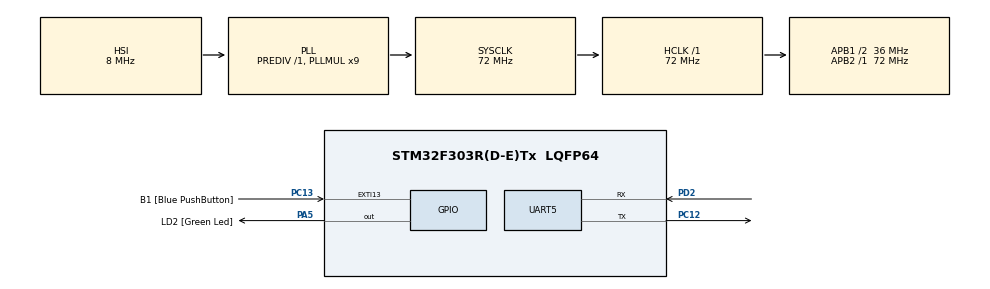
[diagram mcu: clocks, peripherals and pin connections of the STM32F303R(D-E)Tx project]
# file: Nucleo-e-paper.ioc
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FREERTOS.Tasks01=defaultTask,0,128,StartDefaultTask,Default,NULL
Mcu.Family=STM32F3
Mcu.Name=STM32F303R(D-E)Tx
Mcu.Package=LQFP64
NVIC.PriorityGroup=NVIC_PRIORITYGROUP_4
NVIC.TIM1_UP_TIM16_IRQn=true\:0\:0\:false\:false\:true\:false\:false
NVIC.TimeBase=TIM1_UP_TIM16_IRQn
NVIC.TimeBaseIP=TIM1
PA13.GPIO_Label=TMS
PA13.Mode=Serial_Wire
PA13.Signal=SYS_JTMS-SWDIO
PA14.GPIO_Label=TCK
PA14.Mode=Serial_Wire
PA14.Signal=SYS_JTCK-SWCLK
PA2.GPIO_Label=USART_TX
PA2.GPIO_Mode=GPIO_MODE_AF_PP
PA2.GPIO_PuPd=GPIO_NOPULL
PA2.GPIO_Speed=GPIO_SPEED_FREQ_LOW
PA2.Signal=USART2_TX
PA3.GPIO_Label=USART_RX
PA3.GPIO_Mode=GPIO_MODE_AF_PP
PA3.GPIO_PuPd=GPIO_NOPULL
PA3.GPIO_Speed=GPIO_SPEED_FREQ_LOW
PA3.Signal=USART2_RX
PA5.GPIO_Label=LD2 [Green Led]
PA5.GPIO_Mode=GPIO_MODE_OUTPUT_PP
PA5.GPIO_PuPd=GPIO_NOPULL
PA5.GPIO_Speed=GPIO_SPEED_FREQ_LOW
PA5.Signal=GPIO_Output
PB3.GPIO_Label=SWO
PB3.Signal=SYS_JTDO-TRACESWO
PC12.Mode=Asynchronous
PC12.Signal=UART5_TX
PC13.GPIO_Label=B1 [Blue PushButton]
PC13.GPIO_ModeDefaultEXTI=GPIO_MODE_IT_FALLING
PC13.Signal=GPXTI13
PC14-OSC32_IN.Mode=LSE-External-Oscillator
PC14-OSC32_IN.Signal=RCC_OSC32_IN
PC15-OSC32_OUT.Mode=LSE-External-Oscillator
PC15-OSC32_OUT.Signal=RCC_OSC32_OUT
PD2.Mode=Asynchronous
PD2.Signal=UART5_RX
PF0-OSC_IN.Mode=HSE-External-Clock-Source
PF0-OSC_IN.Signal=RCC_OSC_IN
PF1-OSC_OUT.Signal=RCC_OSC_OUT
ProjectManager.HeapSize=0x200
ProjectManager.StackSize=0x400
ProjectManager.TargetToolchain=SW4STM32
RCC.AHBFreq_Value=72000000
RCC.APB1CLKDivider=RCC_HCLK_DIV2
RCC.APB1Freq_Value=36000000
RCC.APB1TimFreq_Value=72000000
RCC.APB2Freq_Value=72000000
RCC.APB2TimFreq_Value=72000000
RCC.CortexFreq_Value=72000000
RCC.HCLKFreq_Value=72000000
RCC.HSE_VALUE=8000000
RCC.HSI_VALUE=8000000
RCC.PLLM=8
RCC.PLLMUL=RCC_PLL_MUL9
RCC.PLLN=336
RCC.PLLP=RCC_PLLP_DIV4
RCC.PLLQ=7
RCC.RCC_PLLsource_Clock_Source_FROM_HSE=RCC_HSE_PREDIV_DIV2
RCC.RTCClockSelection=RCC_RTCCLKSOURCE_LSE
RCC.SYSCLKFreq_VALUE=72000000
RCC.SYSCLKSourceVirtual=RCC_SYSCLKSOURCE_PLLCLK
RCC.USBFreq_Value=72000000
VP_FREERTOS_VS_ENABLE.Mode=Enabled
VP_RTC_VS_RTC_Activate.Mode=RTC_Enabled
VP_RTC_VS_RTC_Calendar.Mode=RTC_Calendar
VP_SYS_VS_tim1.Mode=TIM1
board=NUCLEO-F303RE

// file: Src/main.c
/**
  ******************************************************************************
  * @file           : main.c
  * @brief          : Main program body
  ******************************************************************************
  * This notice applies to any and all portions of this file
  * that are not between comment pairs USER CODE BEGIN and
  * USER CODE END. Other portions of this file, whether
  * inserted by the user or by software development tools
  * are owned by their respective copyright owners.
  *
  * Copyright (c) 2018 STMicroelectronics International N.V.
  * All rights reserved.
  *
  * Redistribution and use in source and binary forms, with or without
  * modification, are permitted, provided that the following conditions are met:
  *
  * 1. Redistribution of source code must retain the above copyright notice,
  *    this list of conditions and the following disclaimer.
  * 2. Redistributions in binary form must reproduce the above copyright notice,
  *    this list of conditions and the following disclaimer in the documentation
  *    and/or other materials provided with the distribution.
  * 3. Neither the name of STMicroelectronics nor the names of other
  *    contributors to this software may be used to endorse or promote products
  *    derived from this software without specific written permission.
  * 4. This software, including modifications and/or derivative works of this
  *    software, must execute solely and exclusively on microcontroller or
  *    microprocessor devices manufactured by or for STMicroelectronics.
  * 5. Redistribution and use of this software other than as permitted under
  *    this license is void and will automatically terminate your rights under
  *    this license.
  *
  * THIS SOFTWARE IS PROVIDED BY STMICROELECTRONICS AND CONTRIBUTORS "AS IS"
  * AND ANY EXPRESS, IMPLIED OR STATUTORY WARRANTIES, INCLUDING, BUT NOT
  * LIMITED TO, THE IMPLIED WARRANTIES OF MERCHANTABILITY, FITNESS FOR A
  * PARTICULAR PURPOSE AND NON-INFRINGEMENT OF THIRD PARTY INTELLECTUAL PROPERTY
  * RIGHTS ARE DISCLAIMED TO THE FULLEST EXTENT PERMITTED BY LAW. IN NO EVENT
  * SHALL STMICROELECTRONICS OR CONTRIBUTORS BE LIABLE FOR ANY DIRECT, INDIRECT,
  * INCIDENTAL, SPECIAL, EXEMPLARY, OR CONSEQUENTIAL DAMAGES (INCLUDING, BUT NOT
  * LIMITED TO, PROCUREMENT OF SUBSTITUTE GOODS OR SERVICES; LOSS OF USE, DATA,
  * OR PROFITS; OR BUSINESS INTERRUPTION) HOWEVER CAUSED AND ON ANY THEORY OF
  * LIABILITY, WHETHER IN CONTRACT, STRICT LIABILITY, OR TORT (INCLUDING
  * NEGLIGENCE OR OTHERWISE) ARISING IN ANY WAY OUT OF THE USE OF THIS SOFTWARE,
  * EVEN IF ADVISED OF THE POSSIBILITY OF SUCH DAMAGE.
  *
  ******************************************************************************
  */
#include "main.h"
#include "stm32f3xx_hal.h"
#include "cmsis_os.h"
#include "rtc.h"
#include "usart.h"
#include "gpio.h"

/* USER CODE BEGIN PV */
/* Private variables ---------------------------------------------------------*/

/* USER CODE END PV */

void SystemClock_Config(void);
void MX_FREERTOS_Init(void);

/* USER CODE BEGIN PFP */
/* Private function prototypes -----------------------------------------------*/

/* USER CODE END PFP */

int main(void)
{

  /* MCU Configuration----------------------------------------------------------*/

  /* Reset of all peripherals, Initializes the Flash interface and the Systick. */
  HAL_Init();

  /* Configure the system clock */
  SystemClock_Config();

  /* Initialize all configured peripherals */
  MX_GPIO_Init();
  MX_UART5_Init();
  MX_RTC_Init();

  /* Call init function for freertos objects (in freertos.c) */
  MX_FREERTOS_Init();

  /* Start scheduler */
  osKernelStart();

  /* We should never get here as control is now taken by the scheduler */

  /* Infinite loop */
  while (1)
  {

  }

}

void SystemClock_Config(void)
{

  RCC_OscInitTypeDef RCC_OscInitStruct;
  RCC_ClkInitTypeDef RCC_ClkInitStruct;
  RCC_PeriphCLKInitTypeDef PeriphClkInit;

    /**Configure LSE Drive Capability
    */
  HAL_PWR_EnableBkUpAccess();

  __HAL_RCC_LSEDRIVE_CONFIG(RCC_LSEDRIVE_LOW);

    /**Initializes the CPU, AHB and APB busses clocks
    */
  RCC_OscInitStruct.OscillatorType = RCC_OSCILLATORTYPE_HSI|RCC_OSCILLATORTYPE_LSE;
  RCC_OscInitStruct.LSEState = RCC_LSE_ON;
  RCC_OscInitStruct.HSIState = RCC_HSI_ON;
  RCC_OscInitStruct.HSICalibrationValue = 16;
  RCC_OscInitStruct.PLL.PLLState = RCC_PLL_ON;
  RCC_OscInitStruct.PLL.PLLSource = RCC_PLLSOURCE_HSI;
  RCC_OscInitStruct.PLL.PLLMUL = RCC_PLL_MUL9;
  RCC_OscInitStruct.PLL.PREDIV = RCC_PREDIV_DIV1;
  if (HAL_RCC_OscConfig(&RCC_OscInitStruct) != HAL_OK)
  {
    _Error_Handler(__FILE__, __LINE__);
  }

    /**Initializes the CPU, AHB and APB busses clocks
    */
  RCC_ClkInitStruct.ClockType = RCC_CLOCKTYPE_HCLK|RCC_CLOCKTYPE_SYSCLK
                              |RCC_CLOCKTYPE_PCLK1|RCC_CLOCKTYPE_PCLK2;
  RCC_ClkInitStruct.SYSCLKSource = RCC_SYSCLKSOURCE_PLLCLK;
  RCC_ClkInitStruct.AHBCLKDivider = RCC_SYSCLK_DIV1;
  RCC_ClkInitStruct.APB1CLKDivider = RCC_HCLK_DIV2;
  RCC_ClkInitStruct.APB2CLKDivider = RCC_HCLK_DIV1;

  if (HAL_RCC_ClockConfig(&RCC_ClkInitStruct, FLASH_LATENCY_2) != HAL_OK)
  {
    _Error_Handler(__FILE__, __LINE__);
  }

  PeriphClkInit.PeriphClockSelection = RCC_PERIPHCLK_UART5|RCC_PERIPHCLK_RTC;
  PeriphClkInit.Uart5ClockSelection = RCC_UART5CLKSOURCE_PCLK1;
  PeriphClkInit.RTCClockSelection = RCC_RTCCLKSOURCE_LSE;
  if (HAL_RCCEx_PeriphCLKConfig(&PeriphClkInit) != HAL_OK)
  {
    _Error_Handler(__FILE__, __LINE__);
  }

    /**Configure the Systick interrupt time
    */
  HAL_SYSTICK_Config(HAL_RCC_GetHCLKFreq()/1000);

    /**Configure the Systick
    */
  HAL_SYSTICK_CLKSourceConfig(SYSTICK_CLKSOURCE_HCLK);

  /* SysTick_IRQn interrupt configuration */
  HAL_NVIC_SetPriority(SysTick_IRQn, 15, 0);
}

void HAL_TIM_PeriodElapsedCallback(TIM_HandleTypeDef *htim)
{
  if (htim->Instance == TIM1) {
    HAL_IncTick();
  }
}

void _Error_Handler(char *file, int line)
{
  while(1)
  {
  }
}

/************************ (C) COPYRIGHT STMicroelectronics *****END OF FILE****/

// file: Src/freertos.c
/**
  ******************************************************************************
  * File Name          : freertos.c
  * Description        : Code for freertos applications
  ******************************************************************************
  * This notice applies to any and all portions of this file
  * that are not between comment pairs USER CODE BEGIN and
  * USER CODE END. Other portions of this file, whether
  * inserted by the user or by software development tools
  * are owned by their respective copyright owners.
  *
  * Copyright (c) 2018 STMicroelectronics International N.V.
  * All rights reserved.
  *
  * Redistribution and use in source and binary forms, with or without
  * modification, are permitted, provided that the following conditions are met:
  *
  * 1. Redistribution of source code must retain the above copyright notice,
  *    this list of conditions and the following disclaimer.
  * 2. Redistributions in binary form must reproduce the above copyright notice,
  *    this list of conditions and the following disclaimer in the documentation
  *    and/or other materials provided with the distribution.
  * 3. Neither the name of STMicroelectronics nor the names of other
  *    contributors to this software may be used to endorse or promote products
  *    derived from this software without specific written permission.
  * 4. This software, including modifications and/or derivative works of this
  *    software, must execute solely and exclusively on microcontroller or
  *    microprocessor devices manufactured by or for STMicroelectronics.
  * 5. Redistribution and use of this software other than as permitted under
  *    this license is void and will automatically terminate your rights under
  *    this license.
  *
  * THIS SOFTWARE IS PROVIDED BY STMICROELECTRONICS AND CONTRIBUTORS "AS IS"
  * AND ANY EXPRESS, IMPLIED OR STATUTORY WARRANTIES, INCLUDING, BUT NOT
  * LIMITED TO, THE IMPLIED WARRANTIES OF MERCHANTABILITY, FITNESS FOR A
  * PARTICULAR PURPOSE AND NON-INFRINGEMENT OF THIRD PARTY INTELLECTUAL PROPERTY
  * RIGHTS ARE DISCLAIMED TO THE FULLEST EXTENT PERMITTED BY LAW. IN NO EVENT
  * SHALL STMICROELECTRONICS OR CONTRIBUTORS BE LIABLE FOR ANY DIRECT, INDIRECT,
  * INCIDENTAL, SPECIAL, EXEMPLARY, OR CONSEQUENTIAL DAMAGES (INCLUDING, BUT NOT
  * LIMITED TO, PROCUREMENT OF SUBSTITUTE GOODS OR SERVICES; LOSS OF USE, DATA,
  * OR PROFITS; OR BUSINESS INTERRUPTION) HOWEVER CAUSED AND ON ANY THEORY OF
  * LIABILITY, WHETHER IN CONTRACT, STRICT LIABILITY, OR TORT (INCLUDING
  * NEGLIGENCE OR OTHERWISE) ARISING IN ANY WAY OUT OF THE USE OF THIS SOFTWARE,
  * EVEN IF ADVISED OF THE POSSIBILITY OF SUCH DAMAGE.
  *
  ******************************************************************************
  */

#include "FreeRTOS.h"
#include "task.h"
#include "cmsis_os.h"
#include "usart.h"
#include "string.h"
#include "stdio.h"
#include "time.h"
#include "gpio.h"
#define CMD_BUFFER_SIZE 128
#define LEN 3

//position of the time and date on e-paper
#define    posXTime32DotFont      350
#define    posYTime32DotFont      200
#define    posXDate32DotFont      335
#define    posYDate32DotFont      300
#define    posXTime64DotFont	  300
#define    posYTime64DotFont      200
#define    posXDate64DotFont	  260
#define    posYDate64DotFont	  300

osThreadId defaultTaskHandle;

/* USER CODE BEGIN Variables */
static unsigned char cmdBuffer[CMD_BUFFER_SIZE];
uint8_t font = 0;
uint16_t posXTime = posXTime32DotFont;
uint16_t posYTime = posYTime32DotFont;
uint16_t posXDate = posXDate32DotFont;
uint16_t posYDate = posYDate32DotFont;
RTC_HandleTypeDef hrtc;
/* USER CODE END Variables */

void StartDefaultTask(void const * argument);

void MX_FREERTOS_Init(void); /* (MISRA C 2004 rule 8.1) */

/* USER CODE BEGIN FunctionPrototypes */

// getting time and date

void RTC_SetTime(RTC_TimeTypeDef sTime);
void RTC_GetTime(RTC_TimeTypeDef *sTime);
void RTC_SetDate(RTC_DateTypeDef sDate);
void RTC_GetDate(RTC_DateTypeDef *sDate);

// end of getting time and date

unsigned char verifyParity(const void * ptr, int n);
void updateScreen();
void clearScreen();
void displayExampleText();
void displayString();
void set64DotFont();
void set32DotFont();
void EXTI15_10_IRQHandler_Config(void);

/* USER CODE END FunctionPrototypes */

/* Hook prototypes */

/* Init FreeRTOS */

void MX_FREERTOS_Init(void) {
  /* USER CODE BEGIN Init */
	EXTI15_10_IRQHandler_Config();
  /* USER CODE END Init */

  /* Create the thread(s) */
  /* definition and creation of defaultTask */
  osThreadDef(defaultTask, StartDefaultTask, osPriorityNormal, 0, 128);
  defaultTaskHandle = osThreadCreate(osThread(defaultTask), NULL);

}

/* StartDefaultTask function */
void StartDefaultTask(void const * argument)
{
	RTC_TimeTypeDef rtc_time;
	RTC_DateTypeDef rtc_date;
	char timeBuffer[9];
	char dateBuffer[11];
	char hours[LEN];
	char minutes[LEN];
	char seconds[LEN];
	char dayString[LEN];
	char monthString[LEN];
	char yearString[5];
	RTC_SetTime(rtc_time);
	RTC_SetDate(rtc_date);

	rtc_time.Hours = 23;
	rtc_time.Minutes = 59;
	rtc_time.Seconds = 55;
	rtc_date.Date = 8;
	rtc_date.Month = 6;
	rtc_date.Year = 18;
	RTC_SetTime(rtc_time);
	RTC_SetDate(rtc_date);

  /* USER CODE BEGIN StartDefaultTask */
  /* Infinite loop */
  while(1337)
  {
	  RTC_GetTime(&rtc_time);
	  RTC_GetDate(&rtc_date);

	  // rtc time
	  snprintf(hours, LEN, "%d", rtc_time.Hours);
	  snprintf(minutes, LEN, "%d", rtc_time.Minutes);
	  snprintf(seconds, LEN, "%d", rtc_time.Seconds);
	  if(rtc_time.Hours < 10) {
		  strcpy(timeBuffer, "0");
		  strcat(timeBuffer, hours);
	  } else {
		  strcpy(timeBuffer, hours);
	  }
	  strcat(timeBuffer, ":");
	  if(rtc_time.Minutes < 10) {
		  strcat(timeBuffer, "0");
	  }
	  strcat(timeBuffer, minutes);

	  strcat(timeBuffer, ":");
	  if(rtc_time.Seconds < 10) {
		  strcat(timeBuffer, "0");
	  }
	  strcat(timeBuffer, seconds);

	  // rtc_date
	  snprintf(dayString, LEN, "%d", rtc_date.Date);
	  snprintf(monthString, LEN, "%d", rtc_date.Month);
	  int yearInt = (int)rtc_date.Year + 2000;
	  snprintf(yearString, 5, "%d", yearInt);

	  strcpy(dateBuffer, yearString);
	  strcat(dateBuffer, "-");
	  if(rtc_date.Month < 10) {
		  strcat(dateBuffer, "0");
	  }
	  strcat(dateBuffer, monthString);
	  strcat(dateBuffer, "-");
	  if(rtc_date.Date < 10) {
		  strcat(dateBuffer, "0");
	  }
	  strcat(dateBuffer, dayString);

	  // displaying
	  displayString(timeBuffer, posXTime, posYTime);
	  displayString(dateBuffer, posXDate, posYDate);
	  updateScreen();
	  clearScreen();

	  osDelay(5000);
  }
  /* USER CODE END StartDefaultTask */
}

/* USER CODE BEGIN Application */

/**
* @brief Configures EXTI lines 10 to 15 (connected to PC.13 pin) in interrupt mode
* @param None
* @retval None
*/
void EXTI15_10_IRQHandler_Config(void)
{
	GPIO_InitTypeDef GPIO_InitStructure;

	/* Enable GPIOC clock */
	__HAL_RCC_GPIOC_CLK_ENABLE();

	/* Configure PC.13 pin as input floating */
	GPIO_InitStructure.Mode = GPIO_MODE_IT_RISING;
	GPIO_InitStructure.Pull = GPIO_NOPULL;
	GPIO_InitStructure.Pin = GPIO_PIN_13;
	HAL_GPIO_Init(GPIOC, &GPIO_InitStructure);

	/* Enable and set EXTI lines 10 to 15 Interrupt to the lowest priority */
	HAL_NVIC_SetPriority(EXTI15_10_IRQn, 2, 0);
	HAL_NVIC_EnableIRQ(EXTI15_10_IRQn);
}

void EXTI15_10_IRQHandler(void)
{
	HAL_GPIO_EXTI_IRQHandler(GPIO_PIN_13);
}

/**
* @brief EXTI line detection callbacks
* @param GPIO_Pin: Specifies the pins connected EXTI line
* @retval None
*/
void HAL_GPIO_EXTI_Callback(uint16_t GPIO_Pin)
{
	if (GPIO_Pin == GPIO_PIN_13)
	{
		if(font == 0) {
			set64DotFont();
			font = 1;
			posXTime = posXTime64DotFont;
			posYTime = posYTime64DotFont;
			posXDate = posXDate64DotFont;
			posYDate = posYDate64DotFont;
		} else {
			set32DotFont();
			font = 0;
			posXTime = posXTime32DotFont;
			posYTime = posYTime32DotFont;
			posXDate = posXDate32DotFont;
			posYDate = posYDate32DotFont;
		}
	}
}

void updateScreen() {
	unsigned char tab[9] = {0xA5, 0x00, 0x09, 0x0A, 0xCC, 0x33, 0xC3, 0x3C, 0xA6};
	HAL_UART_Transmit(&huart5, tab, 9, 1);
}

void clearScreen() {
	unsigned char tab[9] = {0xA5, 0x00, 0x09, 0x2E, 0xCC, 0x33, 0xC3, 0x3C, 0x82};
	HAL_UART_Transmit(&huart5, tab, 9, 1);
}

void displayExampleText() {
	unsigned char tab[23] = {0xA5, 0x00, 0x17, 0x30, 0x00, 0x0A, 0x00, 0x0A, 0xC4,
			0xE3, 0xBA, 0xC3, 0x57, 0x6F, 0x72, 0x6C, 0x64, 0x00, 0xCC, 0x33, 0xC3, 0x3C, 0x9E};
	HAL_UART_Transmit(&huart5, tab, 23, 1);
}

void set64DotFont() {
	unsigned char tab[10] = {0xA5, 0x00, 0x0A, 0x1F, 0x03, 0xCC, 0x33, 0xC3, 0x3C, 0xB3};
	HAL_UART_Transmit(&huart5, tab, 10, 1);
}

void set32DotFont() {
	unsigned char tab[10] = {0xA5, 0x00, 0x0A, 0x1F, 0x01, 0xCC, 0x33, 0xC3, 0x3C};
	tab[9] = verifyParity(tab, 10);
	HAL_UART_Transmit(&huart5, tab, 10, 1);
}

unsigned char verifyParity(const void * ptr, int n)
{
	int i;
	unsigned char * p = (unsigned char *)ptr;
	unsigned char result;

	for(i = 0, result = 0; i < n; i++)
	{
		result ^= p[i];
	}

	return result;
}

void displayString(const void * p, int x, int y)
{
	int string_size;
	unsigned char * ptr = (unsigned char *)p;

	string_size = strlen((const char *)ptr);
	string_size += 14;

	cmdBuffer[0] = 0xA5;

	cmdBuffer[1] = (string_size >> 8) & 0xFF;
	cmdBuffer[2] = string_size & 0xFF;

	cmdBuffer[3] = 0x30;

	cmdBuffer[4] = (x >> 8) & 0xFF;
	cmdBuffer[5] = x & 0xFF;
	cmdBuffer[6] = (y >> 8) & 0xFF;
	cmdBuffer[7] = y & 0xFF;

	strcpy((char *)(&cmdBuffer[8]), (const char *)ptr);

	string_size -= 5;

	cmdBuffer[string_size] = 0xCC;
	cmdBuffer[string_size + 1] = 0x33;
	cmdBuffer[string_size + 2] = 0xC3;
	cmdBuffer[string_size + 3] = 0x3C;
	cmdBuffer[string_size + 4] = verifyParity(cmdBuffer, string_size + 4);

	HAL_UART_Transmit(&huart5, cmdBuffer, string_size + 5, 1);
}

void RTC_SetTime(RTC_TimeTypeDef sTime) {
	if(HAL_RTC_SetTime(&hrtc, &sTime, RTC_FORMAT_BIN) != HAL_OK) {
		Error_Handler();
	}
}

void RTC_GetTime(RTC_TimeTypeDef *sTime) {
	RTC_DateTypeDef sDate;

	if(HAL_RTC_GetTime(&hrtc, sTime, RTC_FORMAT_BIN) != HAL_OK) {
		Error_Handler();
	}

	if(HAL_RTC_GetDate(&hrtc, &sDate, RTC_FORMAT_BIN) != HAL_OK) {
		Error_Handler();
	}
}

void RTC_SetDate(RTC_DateTypeDef sDate) {
	if(HAL_RTC_SetDate(&hrtc, &sDate, RTC_FORMAT_BIN) != HAL_OK) {
		Error_Handler();
	}
}

void RTC_GetDate(RTC_DateTypeDef *sDate) {
	RTC_TimeTypeDef sTime;

		if(HAL_RTC_GetTime(&hrtc, &sTime, RTC_FORMAT_BIN) != HAL_OK) {
			Error_Handler();
		}

		if(HAL_RTC_GetDate(&hrtc, sDate, RTC_FORMAT_BIN) != HAL_OK) {
			Error_Handler();
		}
}

/* USER CODE END Application */

/************************ (C) COPYRIGHT STMicroelectronics *****END OF FILE****/
